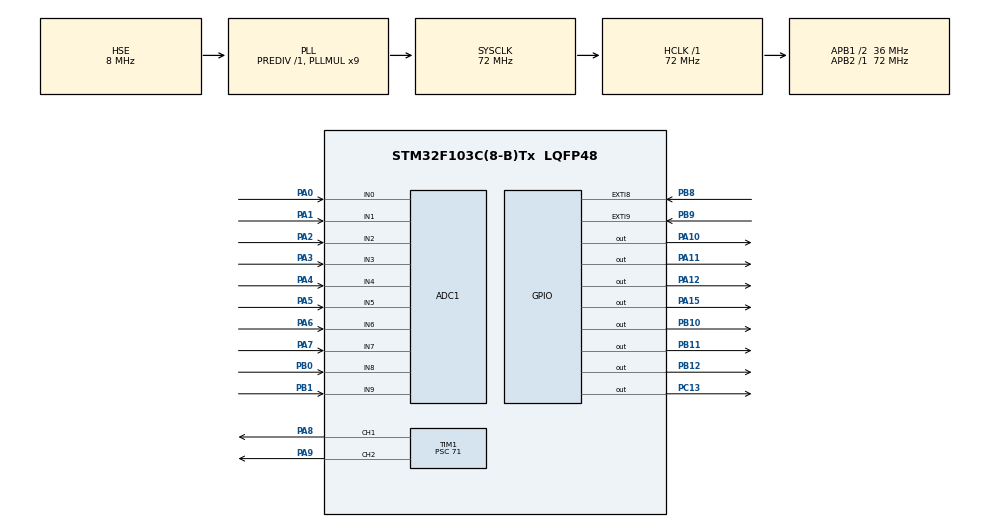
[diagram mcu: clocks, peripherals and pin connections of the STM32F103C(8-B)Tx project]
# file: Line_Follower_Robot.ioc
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ADC1.Channel-0\#ChannelRegularConversion=ADC_CHANNEL_0
ADC1.Channel-1\#ChannelRegularConversion=ADC_CHANNEL_1
ADC1.Channel-2\#ChannelRegularConversion=ADC_CHANNEL_2
ADC1.Channel-3\#ChannelRegularConversion=ADC_CHANNEL_3
ADC1.Channel-4\#ChannelRegularConversion=ADC_CHANNEL_4
ADC1.Channel-5\#ChannelRegularConversion=ADC_CHANNEL_5
ADC1.Channel-6\#ChannelRegularConversion=ADC_CHANNEL_6
ADC1.Channel-7\#ChannelRegularConversion=ADC_CHANNEL_7
ADC1.Channel-8\#ChannelRegularConversion=ADC_CHANNEL_8
ADC1.Channel-9\#ChannelRegularConversion=ADC_CHANNEL_9
ADC1.ContinuousConvMode=ENABLE
ADC1.NbrOfConversion=10
ADC1.NbrOfConversionFlag=1
ADC1.Rank-0\#ChannelRegularConversion=1
ADC1.Rank-1\#ChannelRegularConversion=2
ADC1.Rank-2\#ChannelRegularConversion=3
ADC1.Rank-3\#ChannelRegularConversion=4
ADC1.Rank-4\#ChannelRegularConversion=5
ADC1.Rank-5\#ChannelRegularConversion=6
ADC1.Rank-6\#ChannelRegularConversion=7
ADC1.Rank-7\#ChannelRegularConversion=8
ADC1.Rank-8\#ChannelRegularConversion=9
ADC1.Rank-9\#ChannelRegularConversion=10
ADC1.SamplingTime-0\#ChannelRegularConversion=ADC_SAMPLETIME_1CYCLE_5
ADC1.SamplingTime-1\#ChannelRegularConversion=ADC_SAMPLETIME_1CYCLE_5
ADC1.SamplingTime-2\#ChannelRegularConversion=ADC_SAMPLETIME_1CYCLE_5
ADC1.SamplingTime-3\#ChannelRegularConversion=ADC_SAMPLETIME_1CYCLE_5
ADC1.SamplingTime-4\#ChannelRegularConversion=ADC_SAMPLETIME_1CYCLE_5
ADC1.SamplingTime-5\#ChannelRegularConversion=ADC_SAMPLETIME_1CYCLE_5
ADC1.SamplingTime-6\#ChannelRegularConversion=ADC_SAMPLETIME_1CYCLE_5
ADC1.SamplingTime-7\#ChannelRegularConversion=ADC_SAMPLETIME_1CYCLE_5
ADC1.SamplingTime-8\#ChannelRegularConversion=ADC_SAMPLETIME_1CYCLE_5
ADC1.SamplingTime-9\#ChannelRegularConversion=ADC_SAMPLETIME_1CYCLE_5
ADC1.master=1
Dma.ADC1.0.Direction=DMA_PERIPH_TO_MEMORY
Dma.ADC1.0.Instance=DMA1_Channel1
Dma.ADC1.0.MemDataAlignment=DMA_MDATAALIGN_HALFWORD
Dma.ADC1.0.MemInc=DMA_MINC_ENABLE
Dma.ADC1.0.Mode=DMA_CIRCULAR
Dma.ADC1.0.PeriphDataAlignment=DMA_PDATAALIGN_HALFWORD
Dma.ADC1.0.PeriphInc=DMA_PINC_DISABLE
Dma.ADC1.0.Priority=DMA_PRIORITY_LOW
Dma.Request0=ADC1
Mcu.Family=STM32F1
Mcu.Name=STM32F103C(8-B)Tx
Mcu.Package=LQFP48
NVIC.DMA1_Channel1_IRQn=true\:0\:0\:false\:false\:true\:false\:true\:true
NVIC.EXTI9_5_IRQn=true\:0\:0\:false\:false\:true\:true\:true\:true
NVIC.PriorityGroup=NVIC_PRIORITYGROUP_4
NVIC.TIM2_IRQn=true\:2\:0\:true\:false\:true\:true\:true\:true
PA0-WKUP.Signal=ADCx_IN0
PA1.Signal=ADCx_IN1
PA10.Signal=GPIO_Output
PA11.Signal=GPIO_Output
PA12.Signal=GPIO_Output
PA13.Mode=Serial_Wire
PA13.Signal=SYS_JTMS-SWDIO
PA14.Mode=Serial_Wire
PA14.Signal=SYS_JTCK-SWCLK
PA15.Signal=GPIO_Output
PA2.Signal=ADCx_IN2
PA3.Signal=ADCx_IN3
PA4.Signal=ADCx_IN4
PA5.Signal=ADCx_IN5
PA6.Signal=ADCx_IN6
PA7.Signal=ADCx_IN7
PA8.Signal=S_TIM1_CH1
PA9.Signal=S_TIM1_CH2
PB0.Signal=ADCx_IN8
PB1.Signal=ADCx_IN9
PB10.Signal=GPIO_Output
PB11.Signal=GPIO_Output
PB12.Signal=GPIO_Output
PB8.GPIO_PuPd=GPIO_PULLUP
PB8.Signal=GPXTI8
PB9.GPIO_PuPd=GPIO_PULLUP
PB9.Signal=GPXTI9
PC13-TAMPER-RTC.PinState=GPIO_PIN_RESET
PC13-TAMPER-RTC.Signal=GPIO_Output
PD0-OSC_IN.Mode=HSE-External-Oscillator
PD0-OSC_IN.Signal=RCC_OSC_IN
PD1-OSC_OUT.Mode=HSE-External-Oscillator
PD1-OSC_OUT.Signal=RCC_OSC_OUT
ProjectManager.HeapSize=0x200
ProjectManager.StackSize=0x400
ProjectManager.TargetToolchain=MDK-ARM V5.32
RCC.ADCPresc=RCC_ADCPCLK2_DIV6
RCC.AHBFreq_Value=72000000
RCC.APB1CLKDivider=RCC_HCLK_DIV2
RCC.APB1Freq_Value=36000000
RCC.APB1TimFreq_Value=72000000
RCC.APB2Freq_Value=72000000
RCC.APB2TimFreq_Value=72000000
RCC.HCLKFreq_Value=72000000
RCC.PLLMUL=RCC_PLL_MUL9
RCC.PLLSourceVirtual=RCC_PLLSOURCE_HSE
RCC.SYSCLKFreq_VALUE=72000000
RCC.SYSCLKSource=RCC_SYSCLKSOURCE_PLLCLK
RCC.USBFreq_Value=72000000
SH.ADCx_IN0.0=ADC1_IN0,IN0
SH.ADCx_IN1.0=ADC1_IN1,IN1
SH.ADCx_IN2.0=ADC1_IN2,IN2
SH.ADCx_IN3.0=ADC1_IN3,IN3
SH.ADCx_IN4.0=ADC1_IN4,IN4
SH.ADCx_IN5.0=ADC1_IN5,IN5
SH.ADCx_IN6.0=ADC1_IN6,IN6
SH.ADCx_IN7.0=ADC1_IN7,IN7
SH.ADCx_IN8.0=ADC1_IN8,IN8
SH.ADCx_IN9.0=ADC1_IN9,IN9
SH.S_TIM1_CH1.0=TIM1_CH1,PWM Generation1 CH1
SH.S_TIM1_CH2.0=TIM1_CH2,PWM Generation2 CH2
TIM1.Channel-PWM\ Generation1\ CH1=TIM_CHANNEL_1
TIM1.Channel-PWM\ Generation2\ CH2=TIM_CHANNEL_2
TIM1.OCFastMode_PWM-PWM\ Generation1\ CH1=TIM_OCFAST_DISABLE
TIM1.OCFastMode_PWM-PWM\ Generation2\ CH2=TIM_OCFAST_DISABLE
TIM1.OCMode_PWM-PWM\ Generation2\ CH2=TIM_OCMODE_PWM1
TIM1.Period=199
TIM1.Prescaler=71
TIM2.Period=4999
TIM2.Prescaler=71
VP_TIM1_VS_ClockSourceINT.Mode=Internal
VP_TIM2_VS_ClockSourceINT.Mode=Internal
board=custom

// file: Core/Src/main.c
/* USER CODE BEGIN Header */
/**
  ******************************************************************************
  * @file           : main.c
  * @brief          : Main program body
  ******************************************************************************
  * @attention
  *
  * Copyright (c) 2026 STMicroelectronics.
  * All rights reserved.
  *
  * This software is licensed under terms that can be found in the LICENSE file
  * in the root directory of this software component.
  * If no LICENSE file comes with this software, it is provided AS-IS.
  *
  ******************************************************************************
  */
/* USER CODE END Header */
#include "main.h"

/* USER CODE BEGIN Includes */
#include <stdlib.h>
#include "math.h"
/* USER CODE END Includes */

ADC_HandleTypeDef hadc1;
DMA_HandleTypeDef hdma_adc1;

TIM_HandleTypeDef htim1;
TIM_HandleTypeDef htim2;

void SystemClock_Config(void);
static void MX_GPIO_Init(void);
static void MX_DMA_Init(void);
static void MX_ADC1_Init(void);
static void MX_TIM1_Init(void);
static void MX_TIM2_Init(void);

/* USER CODE BEGIN 0 */

//CONFIGURATION
int Threshold = 3500;
uint16_t Line_SensorA[10];
int Line_SensorD[10];
int WeightValue[10] = {10, 20, 30, 40, 50, 60, 70, 80, 90, 100};
volatile int SumSensor;
volatile int SumWeight;
int SD1, SD2, SD3, SD4, SD5, SD6, SD7, SD8, SD9, SD10;

float Speed = 200;
float LeftSpeed;
float RightSpeed;
int CenterPosition = 55;
int CurrentPosition;
int PreviousError;
int CurrentError;
int Derivative;

float Kp = 6.2 ;    //800
float Kd = 21 ;	 //2000
float PD;

uint32_t CurrentTime;
uint32_t PreviousTime = 0;

volatile uint8_t Button_Status = 0;

//MAIN
void HAL_ADC_ConvCpltCallback(ADC_HandleTypeDef *hadc)			//====================CALL_BACK for READ_BLACK_LINE====================//
{
 if(hadc->Instance == ADC1)
 {
	 SumSensor = 0;
	 SumWeight = 0;
	for(uint8_t i = 0; i < 10; i++)
	{
	  if(Line_SensorA[i] < Threshold)
	  {
		  Line_SensorD[i] = 0;
	  }
	  else
	  {
		  Line_SensorD[i] = 1;
	  }
	  SumSensor += Line_SensorD[i];
	  SumWeight += Line_SensorD[i] * WeightValue[i];

		if (i == 0) SD1 = Line_SensorD[i];
    if (i == 1) SD2 = Line_SensorD[i];
    if (i == 2) SD3 = Line_SensorD[i];
    if (i == 3) SD4 = Line_SensorD[i];
    if (i == 4) SD5 = Line_SensorD[i];
    if (i == 5) SD6 = Line_SensorD[i];
    if (i == 6) SD7 = Line_SensorD[i];
    if (i == 7) SD8 = Line_SensorD[i];
		if (i == 8) SD9 = Line_SensorD[i];
    if (i == 9) SD10 = Line_SensorD[i];
	 }
  }
}

void Motor(float Lspeed, float Rspeed)								          //====================MOTOR====================//
{
	//Motor1
	if(Rspeed >= 0)
	{
	  HAL_GPIO_WritePin(GPIOA, GPIO_PIN_10, GPIO_PIN_SET);
	  HAL_GPIO_WritePin(GPIOA, GPIO_PIN_11, GPIO_PIN_RESET);
	}
	else
	{
	  HAL_GPIO_WritePin(GPIOA, GPIO_PIN_10, GPIO_PIN_RESET);
	  HAL_GPIO_WritePin(GPIOA, GPIO_PIN_11, GPIO_PIN_SET);
	}

	//Motor2
	if(Lspeed >= 0)
	{
	  HAL_GPIO_WritePin(GPIOA, GPIO_PIN_12, GPIO_PIN_RESET);
	  HAL_GPIO_WritePin(GPIOA, GPIO_PIN_15, GPIO_PIN_SET);
	}
	else
	{
		HAL_GPIO_WritePin(GPIOA, GPIO_PIN_12, GPIO_PIN_SET);
	  HAL_GPIO_WritePin(GPIOA, GPIO_PIN_15, GPIO_PIN_RESET);
	}

	htim1.Instance->CCR1 = fabsf(Rspeed);
	htim1.Instance->CCR2 = fabsf(Lspeed);
}

void PID_Control(float Kp, float Kd)												//====================PID_CONTROL====================//
{
	if(SumSensor != 0) CurrentPosition = (int)((float)SumWeight / (float)SumSensor);
	CurrentError = CenterPosition - CurrentPosition;

	Derivative = CurrentError - PreviousError;

	PD = Kp * CurrentError + Kd * Derivative;

	LeftSpeed = Speed - PD;
	RightSpeed = Speed + PD;

	if(LeftSpeed > Speed) LeftSpeed = Speed;
	else if(LeftSpeed < -Speed) LeftSpeed = -Speed;
	if(RightSpeed > Speed) RightSpeed = Speed;
	else if(RightSpeed < -Speed) RightSpeed = -Speed;

	Motor(LeftSpeed, RightSpeed);

	PreviousError =  CurrentError;
}

void HAL_GPIO_EXTI_Callback(uint16_t GPIO_Pin)
{
	CurrentTime = HAL_GetTick(); // Chong Debounce button

	if(GPIO_Pin == GPIO_PIN_9 && (CurrentTime - PreviousTime > 10))
	{
		Button_Status = 1;
		PreviousTime = CurrentTime;
	}
	else if(GPIO_Pin == GPIO_PIN_8 && (CurrentTime - PreviousTime > 10))
	{
		Button_Status = 2;
		PreviousTime = CurrentTime;
	}
}

void HAL_TIM_PeriodElapsedCallback(TIM_HandleTypeDef *htim) //Ham thuc thi chuyen dong
{
  if(htim->Instance == TIM2)
  {
		if(Button_Status == 1)
		{
			PID_Control(Kp, Kd);
		}
		else if(Button_Status == 2)
		{
			HAL_GPIO_WritePin(GPIOB, GPIO_PIN_12, GPIO_PIN_RESET); //STBY OFF
		}
	}
}

/* USER CODE END 0 */

int main(void)

{

  /* MCU Configuration--------------------------------------------------------*/

  /* Reset of all peripherals, Initializes the Flash interface and the Systick. */
  HAL_Init();

  /* Configure the system clock */
  SystemClock_Config();

  /* Initialize all configured peripherals */
  MX_GPIO_Init();
  MX_DMA_Init();
  MX_ADC1_Init();
  MX_TIM1_Init();
  MX_TIM2_Init();
  /* USER CODE BEGIN 2 */
	//Read Sensor
	HAL_ADC_Start_DMA(&hadc1, (uint32_t*)Line_SensorA, 10);

	//PID_Control scan after 10ms
	HAL_TIM_Base_Start_IT(&htim2);

	//Start PWM
	HAL_TIM_PWM_Start(&htim1, TIM_CHANNEL_1);
	HAL_TIM_PWM_Start(&htim1, TIM_CHANNEL_2);

	//Start TB6612FNG
	HAL_GPIO_WritePin(GPIOB, GPIO_PIN_12, GPIO_PIN_SET); //	STBY ON
  /* USER CODE END 2 */

  /* Infinite loop */
  /* USER CODE BEGIN WHILE */
  while (1) //Khi du do se doi phan nay voi phan Interupt thuc thi PID_Control() o ben tren
  {
    /* USER CODE END WHILE */

    /* USER CODE BEGIN 3 */
		if(SD1 == 1 || SD10 == 1)
		{
			HAL_GPIO_WritePin(GPIOB, GPIO_PIN_11, GPIO_PIN_SET);
			//HAL_GPIO_WritePin(GPIOB, GPIO_PIN_10, GPIO_PIN_SET);
		}
		else if(SD1 == 0 || SD10 == 0)
		{
			HAL_GPIO_WritePin(GPIOB, GPIO_PIN_11, GPIO_PIN_RESET);
			//HAL_GPIO_WritePin(GPIOB, GPIO_PIN_10, GPIO_PIN_RESET);
		}
	}
  /* USER CODE END 3 */
}
void SystemClock_Config(void)
{
  RCC_OscInitTypeDef RCC_OscInitStruct = {0};
  RCC_ClkInitTypeDef RCC_ClkInitStruct = {0};
  RCC_PeriphCLKInitTypeDef PeriphClkInit = {0};

  /** Initializes the RCC Oscillators according to the specified parameters
  * in the RCC_OscInitTypeDef structure.
  */
  RCC_OscInitStruct.OscillatorType = RCC_OSCILLATORTYPE_HSE;
  RCC_OscInitStruct.HSEState = RCC_HSE_ON;
  RCC_OscInitStruct.HSEPredivValue = RCC_HSE_PREDIV_DIV1;
  RCC_OscInitStruct.HSIState = RCC_HSI_ON;
  RCC_OscInitStruct.PLL.PLLState = RCC_PLL_ON;
  RCC_OscInitStruct.PLL.PLLSource = RCC_PLLSOURCE_HSE;
  RCC_OscInitStruct.PLL.PLLMUL = RCC_PLL_MUL9;
  if (HAL_RCC_OscConfig(&RCC_OscInitStruct) != HAL_OK)
  {
    Error_Handler();
  }

  /** Initializes the CPU, AHB and APB buses clocks
  */
  RCC_ClkInitStruct.ClockType = RCC_CLOCKTYPE_HCLK|RCC_CLOCKTYPE_SYSCLK
                              |RCC_CLOCKTYPE_PCLK1|RCC_CLOCKTYPE_PCLK2;
  RCC_ClkInitStruct.SYSCLKSource = RCC_SYSCLKSOURCE_PLLCLK;
  RCC_ClkInitStruct.AHBCLKDivider = RCC_SYSCLK_DIV1;
  RCC_ClkInitStruct.APB1CLKDivider = RCC_HCLK_DIV2;
  RCC_ClkInitStruct.APB2CLKDivider = RCC_HCLK_DIV1;

  if (HAL_RCC_ClockConfig(&RCC_ClkInitStruct, FLASH_LATENCY_2) != HAL_OK)
  {
    Error_Handler();
  }
  PeriphClkInit.PeriphClockSelection = RCC_PERIPHCLK_ADC;
  PeriphClkInit.AdcClockSelection = RCC_ADCPCLK2_DIV6;
  if (HAL_RCCEx_PeriphCLKConfig(&PeriphClkInit) != HAL_OK)
  {
    Error_Handler();
  }
}

static void MX_ADC1_Init(void)
{

  ADC_ChannelConfTypeDef sConfig = {0};

  /** Common config
  */
  hadc1.Instance = ADC1;
  hadc1.Init.ScanConvMode = ADC_SCAN_ENABLE;
  hadc1.Init.ContinuousConvMode = ENABLE;
  hadc1.Init.DiscontinuousConvMode = DISABLE;
  hadc1.Init.ExternalTrigConv = ADC_SOFTWARE_START;
  hadc1.Init.DataAlign = ADC_DATAALIGN_RIGHT;
  hadc1.Init.NbrOfConversion = 10;
  if (HAL_ADC_Init(&hadc1) != HAL_OK)
  {
    Error_Handler();
  }

  /** Configure Regular Channel
  */
  sConfig.Channel = ADC_CHANNEL_0;
  sConfig.Rank = ADC_REGULAR_RANK_1;
  sConfig.SamplingTime = ADC_SAMPLETIME_1CYCLE_5;
  if (HAL_ADC_ConfigChannel(&hadc1, &sConfig) != HAL_OK)
  {
    Error_Handler();
  }

  /** Configure Regular Channel
  */
  sConfig.Channel = ADC_CHANNEL_1;
  sConfig.Rank = ADC_REGULAR_RANK_2;
  if (HAL_ADC_ConfigChannel(&hadc1, &sConfig) != HAL_OK)
  {
    Error_Handler();
  }

  /** Configure Regular Channel
  */
  sConfig.Channel = ADC_CHANNEL_2;
  sConfig.Rank = ADC_REGULAR_RANK_3;
  if (HAL_ADC_ConfigChannel(&hadc1, &sConfig) != HAL_OK)
  {
    Error_Handler();
  }

  /** Configure Regular Channel
  */
  sConfig.Channel = ADC_CHANNEL_3;
  sConfig.Rank = ADC_REGULAR_RANK_4;
  if (HAL_ADC_ConfigChannel(&hadc1, &sConfig) != HAL_OK)
  {
    Error_Handler();
  }

  /** Configure Regular Channel
  */
  sConfig.Channel = ADC_CHANNEL_4;
  sConfig.Rank = ADC_REGULAR_RANK_5;
  if (HAL_ADC_ConfigChannel(&hadc1, &sConfig) != HAL_OK)
  {
    Error_Handler();
  }

  /** Configure Regular Channel
  */
  sConfig.Channel = ADC_CHANNEL_5;
  sConfig.Rank = ADC_REGULAR_RANK_6;
  if (HAL_ADC_ConfigChannel(&hadc1, &sConfig) != HAL_OK)
  {
    Error_Handler();
  }

  /** Configure Regular Channel
  */
  sConfig.Channel = ADC_CHANNEL_6;
  sConfig.Rank = ADC_REGULAR_RANK_7;
  if (HAL_ADC_ConfigChannel(&hadc1, &sConfig) != HAL_OK)
  {
    Error_Handler();
  }

  /** Configure Regular Channel
  */
  sConfig.Channel = ADC_CHANNEL_7;
  sConfig.Rank = ADC_REGULAR_RANK_8;
  if (HAL_ADC_ConfigChannel(&hadc1, &sConfig) != HAL_OK)
  {
    Error_Handler();
  }

  /** Configure Regular Channel
  */
  sConfig.Channel = ADC_CHANNEL_8;
  sConfig.Rank = ADC_REGULAR_RANK_9;
  if (HAL_ADC_ConfigChannel(&hadc1, &sConfig) != HAL_OK)
  {
    Error_Handler();
  }

  /** Configure Regular Channel
  */
  sConfig.Channel = ADC_CHANNEL_9;
  sConfig.Rank = ADC_REGULAR_RANK_10;
  if (HAL_ADC_ConfigChannel(&hadc1, &sConfig) != HAL_OK)
  {
    Error_Handler();
  }

}

static void MX_TIM1_Init(void)
{

  TIM_ClockConfigTypeDef sClockSourceConfig = {0};
  TIM_MasterConfigTypeDef sMasterConfig = {0};
  TIM_OC_InitTypeDef sConfigOC = {0};
  TIM_BreakDeadTimeConfigTypeDef sBreakDeadTimeConfig = {0};

  htim1.Instance = TIM1;
  htim1.Init.Prescaler = 71;
  htim1.Init.CounterMode = TIM_COUNTERMODE_UP;
  htim1.Init.Period = 199;
  htim1.Init.ClockDivision = TIM_CLOCKDIVISION_DIV1;
  htim1.Init.RepetitionCounter = 0;
  htim1.Init.AutoReloadPreload = TIM_AUTORELOAD_PRELOAD_DISABLE;
  if (HAL_TIM_Base_Init(&htim1) != HAL_OK)
  {
    Error_Handler();
  }
  sClockSourceConfig.ClockSource = TIM_CLOCKSOURCE_INTERNAL;
  if (HAL_TIM_ConfigClockSource(&htim1, &sClockSourceConfig) != HAL_OK)
  {
    Error_Handler();
  }
  if (HAL_TIM_PWM_Init(&htim1) != HAL_OK)
  {
    Error_Handler();
  }
  sMasterConfig.MasterOutputTrigger = TIM_TRGO_RESET;
  sMasterConfig.MasterSlaveMode = TIM_MASTERSLAVEMODE_DISABLE;
  if (HAL_TIMEx_MasterConfigSynchronization(&htim1, &sMasterConfig) != HAL_OK)
  {
    Error_Handler();
  }
  sConfigOC.OCMode = TIM_OCMODE_PWM1;
  sConfigOC.Pulse = 0;
  sConfigOC.OCPolarity = TIM_OCPOLARITY_HIGH;
  sConfigOC.OCNPolarity = TIM_OCNPOLARITY_HIGH;
  sConfigOC.OCFastMode = TIM_OCFAST_DISABLE;
  sConfigOC.OCIdleState = TIM_OCIDLESTATE_RESET;
  sConfigOC.OCNIdleState = TIM_OCNIDLESTATE_RESET;
  if (HAL_TIM_PWM_ConfigChannel(&htim1, &sConfigOC, TIM_CHANNEL_1) != HAL_OK)
  {
    Error_Handler();
  }
  if (HAL_TIM_PWM_ConfigChannel(&htim1, &sConfigOC, TIM_CHANNEL_2) != HAL_OK)
  {
    Error_Handler();
  }
  sBreakDeadTimeConfig.OffStateRunMode = TIM_OSSR_DISABLE;
  sBreakDeadTimeConfig.OffStateIDLEMode = TIM_OSSI_DISABLE;
  sBreakDeadTimeConfig.LockLevel = TIM_LOCKLEVEL_OFF;
  sBreakDeadTimeConfig.DeadTime = 0;
  sBreakDeadTimeConfig.BreakState = TIM_BREAK_DISABLE;
  sBreakDeadTimeConfig.BreakPolarity = TIM_BREAKPOLARITY_HIGH;
  sBreakDeadTimeConfig.AutomaticOutput = TIM_AUTOMATICOUTPUT_DISABLE;
  if (HAL_TIMEx_ConfigBreakDeadTime(&htim1, &sBreakDeadTimeConfig) != HAL_OK)
  {
    Error_Handler();
  }
  HAL_TIM_MspPostInit(&htim1);

}

static void MX_TIM2_Init(void)
{

  TIM_ClockConfigTypeDef sClockSourceConfig = {0};
  TIM_MasterConfigTypeDef sMasterConfig = {0};

  htim2.Instance = TIM2;
  htim2.Init.Prescaler = 71;
  htim2.Init.CounterMode = TIM_COUNTERMODE_UP;
  htim2.Init.Period = 9999;
  htim2.Init.ClockDivision = TIM_CLOCKDIVISION_DIV1;
  htim2.Init.AutoReloadPreload = TIM_AUTORELOAD_PRELOAD_DISABLE;
  if (HAL_TIM_Base_Init(&htim2) != HAL_OK)
  {
    Error_Handler();
  }
  sClockSourceConfig.ClockSource = TIM_CLOCKSOURCE_INTERNAL;
  if (HAL_TIM_ConfigClockSource(&htim2, &sClockSourceConfig) != HAL_OK)
  {
    Error_Handler();
  }
  sMasterConfig.MasterOutputTrigger = TIM_TRGO_RESET;
  sMasterConfig.MasterSlaveMode = TIM_MASTERSLAVEMODE_DISABLE;
  if (HAL_TIMEx_MasterConfigSynchronization(&htim2, &sMasterConfig) != HAL_OK)
  {
    Error_Handler();
  }

}

static void MX_DMA_Init(void)
{

  /* DMA controller clock enable */
  __HAL_RCC_DMA1_CLK_ENABLE();

  /* DMA interrupt init */
  /* DMA1_Channel1_IRQn interrupt configuration */
  HAL_NVIC_SetPriority(DMA1_Channel1_IRQn, 0, 0);
  HAL_NVIC_EnableIRQ(DMA1_Channel1_IRQn);

}

static void MX_GPIO_Init(void)
{
  GPIO_InitTypeDef GPIO_InitStruct = {0};

  /* GPIO Ports Clock Enable */
  __HAL_RCC_GPIOC_CLK_ENABLE();
  __HAL_RCC_GPIOD_CLK_ENABLE();
  __HAL_RCC_GPIOA_CLK_ENABLE();
  __HAL_RCC_GPIOB_CLK_ENABLE();

  /*Configure GPIO pin Output Level */
  HAL_GPIO_WritePin(GPIOC, GPIO_PIN_13, GPIO_PIN_RESET);

  /*Configure GPIO pin Output Level */
  HAL_GPIO_WritePin(GPIOB, GPIO_PIN_10|GPIO_PIN_11|GPIO_PIN_12, GPIO_PIN_RESET);

  /*Configure GPIO pin Output Level */
  HAL_GPIO_WritePin(GPIOA, GPIO_PIN_10|GPIO_PIN_11|GPIO_PIN_12|GPIO_PIN_15, GPIO_PIN_RESET);

  /*Configure GPIO pin : PC13 */
  GPIO_InitStruct.Pin = GPIO_PIN_13;
  GPIO_InitStruct.Mode = GPIO_MODE_OUTPUT_PP;
  GPIO_InitStruct.Pull = GPIO_NOPULL;
  GPIO_InitStruct.Speed = GPIO_SPEED_FREQ_LOW;
  HAL_GPIO_Init(GPIOC, &GPIO_InitStruct);

  /*Configure GPIO pins : PB10 PB11 PB12 */
  GPIO_InitStruct.Pin = GPIO_PIN_10|GPIO_PIN_11|GPIO_PIN_12;
  GPIO_InitStruct.Mode = GPIO_MODE_OUTPUT_PP;
  GPIO_InitStruct.Pull = GPIO_NOPULL;
  GPIO_InitStruct.Speed = GPIO_SPEED_FREQ_LOW;
  HAL_GPIO_Init(GPIOB, &GPIO_InitStruct);

  /*Configure GPIO pins : PA10 PA11 PA12 PA15 */
  GPIO_InitStruct.Pin = GPIO_PIN_10|GPIO_PIN_11|GPIO_PIN_12|GPIO_PIN_15;
  GPIO_InitStruct.Mode = GPIO_MODE_OUTPUT_PP;
  GPIO_InitStruct.Pull = GPIO_NOPULL;
  GPIO_InitStruct.Speed = GPIO_SPEED_FREQ_LOW;
  HAL_GPIO_Init(GPIOA, &GPIO_InitStruct);

  /*Configure GPIO pins : PB8 PB9 */
  GPIO_InitStruct.Pin = GPIO_PIN_8|GPIO_PIN_9;
  GPIO_InitStruct.Mode = GPIO_MODE_IT_RISING;
  GPIO_InitStruct.Pull = GPIO_PULLUP;
  HAL_GPIO_Init(GPIOB, &GPIO_InitStruct);

  /* EXTI interrupt init*/
  HAL_NVIC_SetPriority(EXTI9_5_IRQn, 0, 0);
  HAL_NVIC_EnableIRQ(EXTI9_5_IRQn);

}

void Error_Handler(void)
{
  __disable_irq();
  while (1)
  {
  }
}
